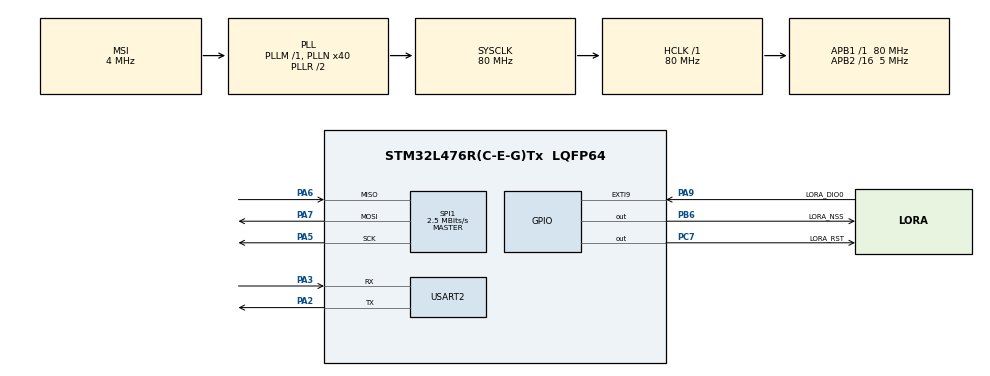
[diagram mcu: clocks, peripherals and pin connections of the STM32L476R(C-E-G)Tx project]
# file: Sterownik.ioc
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CRC.CRCLength=CRC_POLYLENGTH_16B
CRC.DefaultInitValueUse=DEFAULT_INIT_VALUE_DISABLE
CRC.DefaultPolynomialUse=DEFAULT_POLYNOMIAL_DISABLE
CRC.InitValue=65535
Mcu.Family=STM32L4
Mcu.Name=STM32L476R(C-E-G)Tx
Mcu.Package=LQFP64
NVIC.EXTI9_5_IRQn=true\:0\:0\:false\:false\:true\:true\:true\:true
NVIC.PriorityGroup=NVIC_PRIORITYGROUP_4
PA13\ (JTMS-SWDIO).Mode=Serial_Wire
PA13\ (JTMS-SWDIO).Signal=SYS_JTMS-SWDIO
PA14\ (JTCK-SWCLK).Mode=Serial_Wire
PA14\ (JTCK-SWCLK).Signal=SYS_JTCK-SWCLK
PA2.Mode=Asynchronous
PA2.Signal=USART2_TX
PA3.Mode=Asynchronous
PA3.Signal=USART2_RX
PA5.Mode=Full_Duplex_Master
PA5.Signal=SPI1_SCK
PA6.Mode=Full_Duplex_Master
PA6.Signal=SPI1_MISO
PA7.Mode=Full_Duplex_Master
PA7.Signal=SPI1_MOSI
PA9.GPIO_Label=LORA_DIO0
PA9.GPIO_PuPd=GPIO_PULLDOWN
PA9.Signal=GPXTI9
PB6.GPIO_Label=LORA_NSS
PB6.Signal=GPIO_Output
PC14-OSC32_IN\ (PC14).Mode=LSE-External-Oscillator
PC14-OSC32_IN\ (PC14).Signal=RCC_OSC32_IN
PC15-OSC32_OUT\ (PC15).Mode=LSE-External-Oscillator
PC15-OSC32_OUT\ (PC15).Signal=RCC_OSC32_OUT
PC7.GPIO_Label=LORA_RST
PC7.Signal=GPIO_Output
ProjectManager.HeapSize=0x200
ProjectManager.StackSize=0x400
ProjectManager.TargetToolchain=STM32CubeIDE
RCC.AHBFreq_Value=80000000
RCC.APB1Freq_Value=80000000
RCC.APB1TimFreq_Value=80000000
RCC.APB2CLKDivider=RCC_HCLK_DIV16
RCC.APB2Freq_Value=5000000
RCC.APB2TimFreq_Value=10000000
RCC.CortexFreq_Value=80000000
RCC.HCLKFreq_Value=80000000
RCC.HSE_VALUE=8000000
RCC.HSI_VALUE=16000000
RCC.MSI_VALUE=4000000
RCC.PLLN=40
RCC.SYSCLKFreq_VALUE=80000000
RCC.SYSCLKSource=RCC_SYSCLKSOURCE_PLLCLK
RCC.VCOOutputFreq_Value=160000000
SPI1.CalculateBaudRate=2.5 MBits/s
SPI1.DataSize=SPI_DATASIZE_8BIT
SPI1.Direction=SPI_DIRECTION_2LINES
SPI1.Mode=SPI_MODE_MASTER
SPI1.VirtualType=VM_MASTER
USART2.VirtualMode-Asynchronous=VM_ASYNC
VP_CRC_VS_CRC.Mode=CRC_Activate
VP_RTC_VS_RTC_Activate.Mode=RTC_Enabled
board=custom

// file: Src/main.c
/* USER CODE BEGIN Header */
/**
 ******************************************************************************
 * @file           : main.c
 * @brief          : Main program body
 ******************************************************************************
 * @attention
 *
 * Copyright (c) 2025 STMicroelectronics.
 * All rights reserved.
 *
 * This software is licensed under terms that can be found in the LICENSE file
 * in the root directory of this software component.
 * If no LICENSE file comes with this software, it is provided AS-IS.
 *
 ******************************************************************************
 */
/* USER CODE END Header */
#include "main.h"

/* USER CODE BEGIN Includes */
#include "SX1278.h"
#include "string.h"
#include "stdio.h"
#include "NodeManage.h"
#include "Flash.h"

/* USER CODE END Includes */

CRC_HandleTypeDef hcrc;

RTC_HandleTypeDef hrtc;

SPI_HandleTypeDef hspi1;

UART_HandleTypeDef huart2;

/* USER CODE BEGIN PV */

RTC_TimeTypeDef clock_time;
RTC_DateTypeDef clock_date;

// Lora transmitter
SX1278_hw_t sx1278_hw;
SX1278_t sx1278;

// Lora data variables
uint8_t lora_buffer[128];
volatile uint8_t lora_data_ready = 0;

// Communication test variables
int i;
static uint32_t last_check = 0;

/* USER CODE END PV */

void SystemClock_Config(void);
static void MX_GPIO_Init(void);
static void MX_SPI1_Init(void);
static void MX_USART2_UART_Init(void);
static void MX_RTC_Init(void);
static void MX_CRC_Init(void);

/* USER CODE BEGIN 0 */

void comm_test() {

	char *data_buffer = "10";
	HAL_NVIC_DisableIRQ(EXTI9_5_IRQn);
	SX1278_transmit(&sx1278, (uint8_t*) data_buffer, strlen(data_buffer), 1000);
	HAL_NVIC_EnableIRQ(EXTI9_5_IRQn);
	printf("10\n");

	if (SX1278_receive(&sx1278, 64, 2000)) {
	} else {
	}

	while (1) {
		if (lora_data_ready) {

			HAL_NVIC_DisableIRQ(EXTI9_5_IRQn);
			lora_data_ready = false;

			HAL_Delay(10);

			sscanf((char*)lora_buffer, "%d", &i);
			printf("%d\n", i);

			char data_buffer[16];
			snprintf(data_buffer, sizeof(data_buffer), "%d", ++i);

			comm_tx((uint8_t*) data_buffer, strlen(data_buffer), 1000);
			HAL_NVIC_EnableIRQ(EXTI9_5_IRQn);

			if (SX1278_receive(&sx1278, 64, 2000))
				if (i) {
				};
			last_check = HAL_GetTick();
		} else {
			if (HAL_GetTick() - last_check > 2000) {
				last_check = HAL_GetTick();

				HAL_NVIC_DisableIRQ(EXTI9_5_IRQn);
				SX1278_hw_Reset(sx1278.hw);
				HAL_Delay(100);

				printf("Zrestartowano sterownik!\n");

				sscanf((char*)lora_buffer, "%d", &i);
				printf("%d\n", i);

				char data_buffer[16];
				snprintf(data_buffer, sizeof(data_buffer), "%d", i);

				comm_tx((uint8_t*) data_buffer, strlen(data_buffer), 1000);
				HAL_NVIC_EnableIRQ(EXTI9_5_IRQn);

				if (SX1278_receive(&sx1278, 64, 2000)) {
				}

			}
		}
	}
}

int __io_putchar(int ch) {
	if (ch == '\n') {
		uint8_t ch2 = '\r';
		HAL_UART_Transmit(&huart2, &ch2, 1, HAL_MAX_DELAY);
	}
	HAL_UART_Transmit(&huart2, (uint8_t*) &ch, 1, HAL_MAX_DELAY);
	return 1;
}

void init_time(void) {
	RTC_TimeTypeDef new_time = { 0 };

	new_time.Hours = 12;
	new_time.Minutes = 0;
	new_time.Seconds = 0;

	HAL_RTC_SetTime(&hrtc, &new_time, RTC_FORMAT_BIN);
}

/* USER CODE END 0 */

int main(void) {

	/* MCU Configuration--------------------------------------------------------*/

	/* Reset of all peripherals, Initializes the Flash interface and the Systick. */
	HAL_Init();

	/* Configure the system clock */
	SystemClock_Config();

	/* Initialize all configured peripherals */
	MX_GPIO_Init();
	MX_SPI1_Init();
	MX_USART2_UART_Init();
	MX_RTC_Init();
	MX_CRC_Init();
	/* USER CODE BEGIN 2 */

	// CRC Init
	__HAL_RCC_CRC_CLK_ENABLE();

	// Flash_Clear();
	comm_init();
	init_time();
	Node_Init();

	// Od razu przejście do trybu nasłuchiwania
	printf("Starting LoRa receiver mode...\n");
	if (SX1278_receive(&sx1278, 64, 2000))
		printf("LoRa receiver mode activated!\n");
	else
		printf("Failed to activate LoRa receiver mode!\n");

	packet_t *received_pkt = packet_alloc(MAX_PAYLOAD_SIZE);
	if (received_pkt == NULL)
		Error_Handler();

	if (link_config() != HAL_OK)
		Error_Handler();

	/* USER CODE END 2 */

	/* Infinite loop */
	while (1) {

		/* USER CODE BEGIN 3 */

		if (lora_data_ready) {
			if (verify_pkt(received_pkt)) {
				printf("Packet check successful\n");

				if (received_pkt->pkt_type == PKT_REG_REQ) {
					comm_handshake_slave(received_pkt);

				} else {
					if (received_pkt->pkt_type == PKT_DATA) {
						comm_handle_data(received_pkt);
					} else if (received_pkt->pkt_type == PKT_INFO_NEXT_WAKEUP) {
						comm_handle_wakeup_info(received_pkt);
					}
				}

			} else {
				printf("Packet check failed\n");
			}
			SX1278_receive(&sx1278, 64, 2000);

			lora_data_ready = 0;
		}

//		pkt_req_it++;
//		if (pkt_req_it == 10000000) {
//			pkt_req_it = 0;
//
//			printf("REQUESTING LIGHT DATA\n");
//			packet_t *data_pkt = comm_req_data(current_id, DATA_LIGHT);
//			if (data_pkt != NULL) {
//				comm_handle_data(data_pkt);
//				free(data_pkt);
//			} else
//				printf("REQUESTING LIGHT DATA FAILED\n");
//
//			printf("REQUESTING SOIL MOISTURE DATA\n");
//			packet_t *data_pkt1 = comm_req_data(current_id, DATA_SOIL_MOISTURE);
//			if (data_pkt1 != NULL) {
//				comm_handle_data(data_pkt1);
//				free(data_pkt1);
//			} else
//				printf("REQUESTING SOIL MOISTURE DATA FAILED\n");
//	}

//			if (++cmd_i == 256)
//				cmd_i = 12;
//			else if (cmd_i == 96)
//				cmd_i = 97;
//
//			printf("SETTING NODE ID TO %d\n", cmd_i);

		static uint32_t last_check = 0;
		if (HAL_GetTick() - last_check > 5000) {
			last_check = HAL_GetTick();

			//comm_test_conn(1);

			if (sx1278.status != RX) {
				printf("LoRa not in RX mode! Current status: %d\n",
						sx1278.status);
				printf("Resetting and reactivating receiver...\n");

				SX1278_hw_Reset(sx1278.hw);
				HAL_Delay(100);

				if (SX1278_receive(&sx1278, 64, 2000))
					printf("Receiver mode restored!\n");
			} else
				printf("LoRa receiver active, status OK\n");
		}

		//HAL_Delay();
	}
	/* USER CODE END 3 */
}

void SystemClock_Config(void) {
	RCC_OscInitTypeDef RCC_OscInitStruct = { 0 };
	RCC_ClkInitTypeDef RCC_ClkInitStruct = { 0 };

	/** Configure the main internal regulator output voltage
	 */
	if (HAL_PWREx_ControlVoltageScaling(PWR_REGULATOR_VOLTAGE_SCALE1)
			!= HAL_OK) {
		Error_Handler();
	}

	/** Configure LSE Drive Capability
	 */
	HAL_PWR_EnableBkUpAccess();
	__HAL_RCC_LSEDRIVE_CONFIG(RCC_LSEDRIVE_LOW);

	/** Initializes the RCC Oscillators according to the specified parameters
	 * in the RCC_OscInitTypeDef structure.
	 */
	RCC_OscInitStruct.OscillatorType = RCC_OSCILLATORTYPE_LSI
			| RCC_OSCILLATORTYPE_LSE | RCC_OSCILLATORTYPE_MSI;
	RCC_OscInitStruct.LSEState = RCC_LSE_ON;
	RCC_OscInitStruct.LSIState = RCC_LSI_ON;
	RCC_OscInitStruct.MSIState = RCC_MSI_ON;
	RCC_OscInitStruct.MSICalibrationValue = 0;
	RCC_OscInitStruct.MSIClockRange = RCC_MSIRANGE_6;
	RCC_OscInitStruct.PLL.PLLState = RCC_PLL_ON;
	RCC_OscInitStruct.PLL.PLLSource = RCC_PLLSOURCE_MSI;
	RCC_OscInitStruct.PLL.PLLM = 1;
	RCC_OscInitStruct.PLL.PLLN = 40;
	RCC_OscInitStruct.PLL.PLLP = RCC_PLLP_DIV7;
	RCC_OscInitStruct.PLL.PLLQ = RCC_PLLQ_DIV2;
	RCC_OscInitStruct.PLL.PLLR = RCC_PLLR_DIV2;
	if (HAL_RCC_OscConfig(&RCC_OscInitStruct) != HAL_OK) {
		Error_Handler();
	}

	/** Initializes the CPU, AHB and APB buses clocks
	 */
	RCC_ClkInitStruct.ClockType = RCC_CLOCKTYPE_HCLK | RCC_CLOCKTYPE_SYSCLK
			| RCC_CLOCKTYPE_PCLK1 | RCC_CLOCKTYPE_PCLK2;
	RCC_ClkInitStruct.SYSCLKSource = RCC_SYSCLKSOURCE_PLLCLK;
	RCC_ClkInitStruct.AHBCLKDivider = RCC_SYSCLK_DIV1;
	RCC_ClkInitStruct.APB1CLKDivider = RCC_HCLK_DIV1;
	RCC_ClkInitStruct.APB2CLKDivider = RCC_HCLK_DIV16;

	if (HAL_RCC_ClockConfig(&RCC_ClkInitStruct, FLASH_LATENCY_4) != HAL_OK) {
		Error_Handler();
	}

	/** Enable MSI Auto calibration
	 */
	HAL_RCCEx_EnableMSIPLLMode();
}

static void MX_CRC_Init(void) {

	hcrc.Instance = CRC;
	hcrc.Init.DefaultPolynomialUse = DEFAULT_POLYNOMIAL_DISABLE;
	hcrc.Init.DefaultInitValueUse = DEFAULT_INIT_VALUE_DISABLE;
	hcrc.Init.GeneratingPolynomial = 7;
	hcrc.Init.CRCLength = CRC_POLYLENGTH_16B;
	hcrc.Init.InitValue = 65535;
	hcrc.Init.InputDataInversionMode = CRC_INPUTDATA_INVERSION_NONE;
	hcrc.Init.OutputDataInversionMode = CRC_OUTPUTDATA_INVERSION_DISABLE;
	hcrc.InputDataFormat = CRC_INPUTDATA_FORMAT_BYTES;
	if (HAL_CRC_Init(&hcrc) != HAL_OK) {
		Error_Handler();
	}

}

static void MX_RTC_Init(void) {

	/** Initialize RTC Only
	 */
	hrtc.Instance = RTC;
	hrtc.Init.HourFormat = RTC_HOURFORMAT_24;
	hrtc.Init.AsynchPrediv = 127;
	hrtc.Init.SynchPrediv = 255;
	hrtc.Init.OutPut = RTC_OUTPUT_DISABLE;
	hrtc.Init.OutPutRemap = RTC_OUTPUT_REMAP_NONE;
	hrtc.Init.OutPutPolarity = RTC_OUTPUT_POLARITY_HIGH;
	hrtc.Init.OutPutType = RTC_OUTPUT_TYPE_OPENDRAIN;
	if (HAL_RTC_Init(&hrtc) != HAL_OK) {
		Error_Handler();
	}

}

static void MX_SPI1_Init(void) {

	/* SPI1 parameter configuration*/
	hspi1.Instance = SPI1;
	hspi1.Init.Mode = SPI_MODE_MASTER;
	hspi1.Init.Direction = SPI_DIRECTION_2LINES;
	hspi1.Init.DataSize = SPI_DATASIZE_8BIT;
	hspi1.Init.CLKPolarity = SPI_POLARITY_LOW;
	hspi1.Init.CLKPhase = SPI_PHASE_1EDGE;
	hspi1.Init.NSS = SPI_NSS_SOFT;
	hspi1.Init.BaudRatePrescaler = SPI_BAUDRATEPRESCALER_2;
	hspi1.Init.FirstBit = SPI_FIRSTBIT_MSB;
	hspi1.Init.TIMode = SPI_TIMODE_DISABLE;
	hspi1.Init.CRCCalculation = SPI_CRCCALCULATION_DISABLE;
	hspi1.Init.CRCPolynomial = 7;
	hspi1.Init.CRCLength = SPI_CRC_LENGTH_DATASIZE;
	hspi1.Init.NSSPMode = SPI_NSS_PULSE_ENABLE;
	if (HAL_SPI_Init(&hspi1) != HAL_OK) {
		Error_Handler();
	}

}

static void MX_USART2_UART_Init(void) {

	huart2.Instance = USART2;
	huart2.Init.BaudRate = 115200;
	huart2.Init.WordLength = UART_WORDLENGTH_8B;
	huart2.Init.StopBits = UART_STOPBITS_1;
	huart2.Init.Parity = UART_PARITY_NONE;
	huart2.Init.Mode = UART_MODE_TX_RX;
	huart2.Init.HwFlowCtl = UART_HWCONTROL_NONE;
	huart2.Init.OverSampling = UART_OVERSAMPLING_16;
	huart2.Init.OneBitSampling = UART_ONE_BIT_SAMPLE_DISABLE;
	huart2.AdvancedInit.AdvFeatureInit = UART_ADVFEATURE_NO_INIT;
	if (HAL_UART_Init(&huart2) != HAL_OK) {
		Error_Handler();
	}

}

static void MX_GPIO_Init(void) {
	GPIO_InitTypeDef GPIO_InitStruct = { 0 };

	/* GPIO Ports Clock Enable */
	__HAL_RCC_GPIOC_CLK_ENABLE();
	__HAL_RCC_GPIOA_CLK_ENABLE();
	__HAL_RCC_GPIOB_CLK_ENABLE();

	/*Configure GPIO pin Output Level */
	HAL_GPIO_WritePin(LORA_RST_GPIO_Port, LORA_RST_Pin, GPIO_PIN_RESET);

	/*Configure GPIO pin Output Level */
	HAL_GPIO_WritePin(LORA_NSS_GPIO_Port, LORA_NSS_Pin, GPIO_PIN_RESET);

	/*Configure GPIO pin : LORA_RST_Pin */
	GPIO_InitStruct.Pin = LORA_RST_Pin;
	GPIO_InitStruct.Mode = GPIO_MODE_OUTPUT_PP;
	GPIO_InitStruct.Pull = GPIO_NOPULL;
	GPIO_InitStruct.Speed = GPIO_SPEED_FREQ_LOW;
	HAL_GPIO_Init(LORA_RST_GPIO_Port, &GPIO_InitStruct);

	/*Configure GPIO pin : LORA_DIO0_Pin */
	GPIO_InitStruct.Pin = LORA_DIO0_Pin;
	GPIO_InitStruct.Mode = GPIO_MODE_IT_RISING;
	GPIO_InitStruct.Pull = GPIO_PULLDOWN;
	HAL_GPIO_Init(LORA_DIO0_GPIO_Port, &GPIO_InitStruct);

	/*Configure GPIO pin : LORA_NSS_Pin */
	GPIO_InitStruct.Pin = LORA_NSS_Pin;
	GPIO_InitStruct.Mode = GPIO_MODE_OUTPUT_PP;
	GPIO_InitStruct.Pull = GPIO_NOPULL;
	GPIO_InitStruct.Speed = GPIO_SPEED_FREQ_LOW;
	HAL_GPIO_Init(LORA_NSS_GPIO_Port, &GPIO_InitStruct);

	/* EXTI interrupt init*/
	HAL_NVIC_SetPriority(EXTI9_5_IRQn, 0, 0);
	HAL_NVIC_EnableIRQ(EXTI9_5_IRQn);

}

/* USER CODE BEGIN 4 */

/**
 * @brief  EXTI line detection callback.
 * @param  GPIO_Pin Specifies the port pin connected to corresponding EXTI line.
 * @retval None
 */
void HAL_GPIO_EXTI_Callback(uint16_t GPIO_Pin) {
	if (GPIO_Pin == LORA_DIO0_Pin) {
		// Handle LoRa interrupt
		uint8_t received_data[128];
		uint8_t data_length = 0;

		if (SX1278_available(&sx1278) && !lora_data_ready) {

			data_length = SX1278_read(&sx1278, received_data, 64);
			if (data_length > 0) {
				received_data[data_length] = '\0';

				// Kopiowanie danych do bufora globalnego
				memcpy(lora_buffer, received_data, data_length + 1);
				lora_data_ready = 1;
			}
		}
	}
}

/* USER CODE END 4 */

void Error_Handler(void) {
	__disable_irq();
	while (1) {
	}
}
